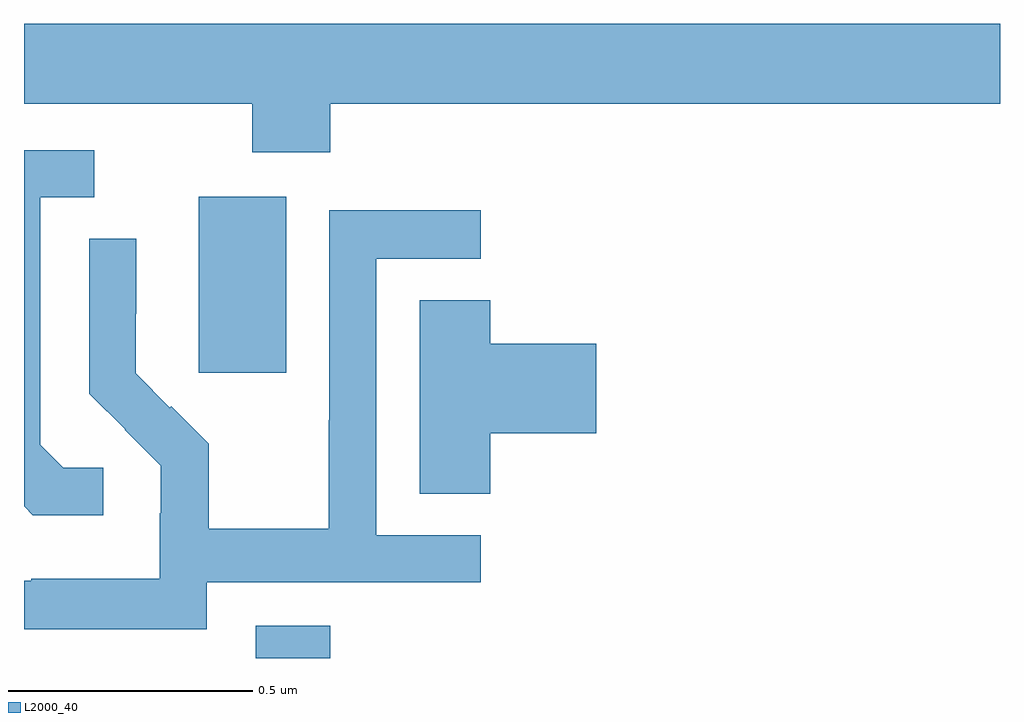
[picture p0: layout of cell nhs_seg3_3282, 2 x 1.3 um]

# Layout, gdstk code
import gdstk
lib = gdstk.Library(unit=1e-6, precision=1e-09)
def R(c, l, rs):  # rectangles x0, y0, x1, y1
    for r in rs: c.add(gdstk.rectangle(r[:2], r[2:], *l))
def P(c, l, *ps):  # polygons
    for p in ps: c.add(gdstk.Polygon(p, *l))
L2000_40 = (2000, 40)

nhs_seg3_3282 = lib.new_cell('nhs_seg3_3282')
R(nhs_seg3_3282, L2000_40, [(151.475,746.4,151.628,746.467), (151.358,746.985,151.537,747.346)])
P(nhs_seg3_3282, L2000_40, [(151.628,747.536),(153,747.536),(153,747.7),(151,747.7),(151,747.536),(151.468,747.536),(151.468,747.437),(151.628,747.437)],
  [(151.162,746.79),(151.08,746.79),(151.033,746.837),(151.033,747.345),(151.144,747.345),(151.144,747.441),(151,747.441),(151,746.711),(151.018,746.693),(151.162,746.693)],
  [(151.374,746.556),(151.936,746.556),(151.936,746.652),(151.722,746.652),(151.722,747.219),(151.936,747.219),(151.936,747.318),(151.626,747.318),(151.626,746.888),(151.624,746.888),(151.624,746.665),(151.379,746.665),(151.379,746.839),(151.302,746.916),(151.299,746.913),(151.229,746.984),(151.229,747.106),(151.23,747.106),(151.23,747.26),(151.134,747.26),(151.134,746.942),(151.207,746.869),(151.206,746.868),(151.28,746.794),(151.28,746.697),(151.278,746.697),(151.278,746.563),(151.015,746.563),(151.015,746.559),(151,746.559),(151,746.459),(151.374,746.459)],
  [(151.955,746.861),(152.173,746.861),(152.173,747.044),(151.955,747.044),(151.955,747.134),(151.811,747.134),(151.811,746.737),(151.955,746.737)])

lib.write_gds('nhs_seg3_3282.gds')
